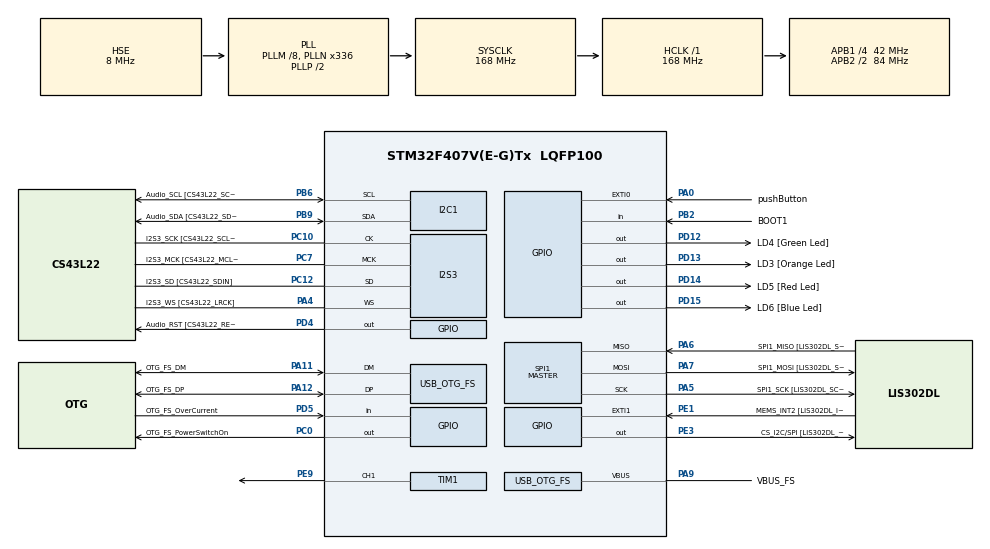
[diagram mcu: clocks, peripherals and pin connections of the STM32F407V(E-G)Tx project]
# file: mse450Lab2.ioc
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I2S3.AudioFreq-Half_Duplex_Master=I2S_AUDIOFREQ_96K
I2S3.ErrorAudioFreq=-2.34 %
I2S3.ErrorAudioFreq-Half_Duplex_Master=0.8 %
I2S3.FullDuplexMode=I2S_FULLDUPLEXMODE_DISABLE
I2S3.Instance=SPI$Index
I2S3.RealAudioFreq=93.75 KHz
I2S3.RealAudioFreq-Half_Duplex_Master=96.774 KHz
I2S3.VirtualMode=I2S_MODE_MASTER
Mcu.Family=STM32F4
Mcu.Name=STM32F407V(E-G)Tx
Mcu.Package=LQFP100
NVIC.EXTI0_IRQn=true\:0\:0\:false\:false\:true\:true\:true\:true
NVIC.OTG_FS_IRQn=true\:0\:0\:false\:false\:true\:true\:true\:true
NVIC.PriorityGroup=NVIC_PRIORITYGROUP_0
PA0-WKUP.GPIO_Label=pushButton
PA0-WKUP.Signal=GPXTI0
PA10.GPIO_Label=OTG_FS_ID
PA10.GPIO_Mode=GPIO_MODE_AF_PP
PA10.GPIO_PuPd=GPIO_NOPULL
PA10.GPIO_Speed=GPIO_SPEED_FREQ_LOW
PA10.Signal=USB_OTG_FS_ID
PA11.GPIO_Label=OTG_FS_DM
PA11.GPIO_Mode=GPIO_MODE_AF_PP
PA11.GPIO_PuPd=GPIO_NOPULL
PA11.GPIO_Speed=GPIO_SPEED_FREQ_LOW
PA11.Mode=Device_Only
PA11.Signal=USB_OTG_FS_DM
PA12.GPIO_Label=OTG_FS_DP
PA12.GPIO_Mode=GPIO_MODE_AF_PP
PA12.GPIO_PuPd=GPIO_NOPULL
PA12.GPIO_Speed=GPIO_SPEED_FREQ_LOW
PA12.Mode=Device_Only
PA12.Signal=USB_OTG_FS_DP
PA13.GPIO_Label=SWDIO
PA13.Mode=Serial_Wire
PA13.Signal=SYS_JTMS-SWDIO
PA14.GPIO_Label=SWCLK
PA14.Mode=Serial_Wire
PA14.Signal=SYS_JTCK-SWCLK
PA4.GPIO_Label=I2S3_WS [CS43L22_LRCK]
PA4.GPIO_Mode=GPIO_MODE_AF_PP
PA4.GPIO_PuPd=GPIO_NOPULL
PA4.GPIO_Speed=GPIO_SPEED_FREQ_LOW
PA4.Mode=Half_Duplex_Master
PA4.Signal=I2S3_WS
PA5.GPIO_Label=SPI1_SCK [LIS302DL_SCL/SPC]
PA5.GPIO_Mode=GPIO_MODE_AF_PP
PA5.GPIO_PuPd=GPIO_NOPULL
PA5.GPIO_Speed=GPIO_SPEED_FREQ_LOW
PA5.Mode=Full_Duplex_Master
PA5.Signal=SPI1_SCK
PA6.GPIO_Label=SPI1_MISO [LIS302DL_SDO]
PA6.GPIO_Mode=GPIO_MODE_AF_PP
PA6.GPIO_PuPd=GPIO_NOPULL
PA6.GPIO_Speed=GPIO_SPEED_FREQ_LOW
PA6.Mode=Full_Duplex_Master
PA6.Signal=SPI1_MISO
PA7.GPIO_Label=SPI1_MOSI [LIS302DL_SDA/SDI/SDO]
PA7.GPIO_Mode=GPIO_MODE_AF_PP
PA7.GPIO_PuPd=GPIO_NOPULL
PA7.GPIO_Speed=GPIO_SPEED_FREQ_LOW
PA7.Mode=Full_Duplex_Master
PA7.Signal=SPI1_MOSI
PA9.GPIO_Label=VBUS_FS
PA9.GPIO_Mode=GPIO_MODE_INPUT
PA9.GPIO_PuPd=GPIO_NOPULL
PA9.Mode=Activate_VBUS
PA9.Signal=USB_OTG_FS_VBUS
PB10.GPIO_Label=CLK_IN [MP45DT02_CLK]
PB10.GPIO_Mode=GPIO_MODE_AF_PP
PB10.GPIO_PuPd=GPIO_NOPULL
PB10.GPIO_Speed=GPIO_SPEED_FREQ_LOW
PB10.Signal=I2S2_CK
PB2.GPIO_Label=BOOT1
PB2.GPIO_Mode=GPIO_MODE_INPUT
PB2.GPIO_PuPd=GPIO_NOPULL
PB2.Signal=GPIO_Input
PB3.GPIO_Label=SWO
PB3.Signal=SYS_JTDO-SWO
PB6.GPIO_Label=Audio_SCL [CS43L22_SCL]
PB6.GPIO_Mode=GPIO_MODE_AF_OD
PB6.GPIO_Pu=GPIO_PULLUP
PB6.GPIO_PuPd=GPIO_NOPULL
PB6.GPIO_Speed=GPIO_SPEED_FREQ_LOW
PB6.Mode=I2C
PB6.Signal=I2C1_SCL
PB9.GPIO_Label=Audio_SDA [CS43L22_SDA]
PB9.GPIO_Mode=GPIO_MODE_AF_OD
PB9.GPIO_Pu=GPIO_PULLUP
PB9.GPIO_PuPd=GPIO_NOPULL
PB9.GPIO_Speed=GPIO_SPEED_FREQ_LOW
PB9.Mode=I2C
PB9.Signal=I2C1_SDA
PC0.GPIO_Label=OTG_FS_PowerSwitchOn
PC0.GPIO_PuPd=GPIO_NOPULL
PC0.GPIO_Speed=GPIO_SPEED_FREQ_LOW
PC0.PinState=GPIO_PIN_SET
PC0.Signal=GPIO_Output
PC10.GPIO_Label=I2S3_SCK [CS43L22_SCLK]
PC10.GPIO_Mode=GPIO_MODE_AF_PP
PC10.GPIO_PuPd=GPIO_NOPULL
PC10.GPIO_Speed=GPIO_SPEED_FREQ_LOW
PC10.Mode=Half_Duplex_Master
PC10.Signal=I2S3_CK
PC12.GPIO_Label=I2S3_SD [CS43L22_SDIN]
PC12.GPIO_Mode=GPIO_MODE_AF_PP
PC12.GPIO_PuPd=GPIO_NOPULL
PC12.GPIO_Speed=GPIO_SPEED_FREQ_LOW
PC12.Mode=Half_Duplex_Master
PC12.Signal=I2S3_SD
PC14-OSC32_IN.GPIO_Label=PC14-OSC32_IN
PC14-OSC32_IN.Mode=LSE-External-Oscillator
PC14-OSC32_IN.Signal=RCC_OSC32_IN
PC15-OSC32_OUT.GPIO_Label=PC15-OSC32_OUT
PC15-OSC32_OUT.Mode=LSE-External-Oscillator
PC15-OSC32_OUT.Signal=RCC_OSC32_OUT
PC3.GPIO_Label=PDM_OUT [MP45DT02_DOUT]
PC3.GPIO_Mode=GPIO_MODE_AF_PP
PC3.GPIO_PuPd=GPIO_NOPULL
PC3.GPIO_Speed=GPIO_SPEED_FREQ_LOW
PC3.Signal=I2S2_SD
PC7.GPIO_Label=I2S3_MCK [CS43L22_MCLK]
PC7.GPIO_Mode=GPIO_MODE_AF_PP
PC7.GPIO_PuPd=GPIO_NOPULL
PC7.GPIO_Speed=GPIO_SPEED_FREQ_LOW
PC7.Mode=Master_Clock_Activated
PC7.Signal=I2S3_MCK
PD12.GPIO_Label=LD4 [Green Led]
PD12.GPIO_PuPd=GPIO_NOPULL
PD12.GPIO_Speed=GPIO_SPEED_FREQ_LOW
PD12.Signal=GPIO_Output
PD13.GPIO_Label=LD3 [Orange Led]
PD13.GPIO_PuPd=GPIO_NOPULL
PD13.GPIO_Speed=GPIO_SPEED_FREQ_LOW
PD13.Signal=GPIO_Output
PD14.GPIO_Label=LD5 [Red Led]
PD14.GPIO_PuPd=GPIO_NOPULL
PD14.GPIO_Speed=GPIO_SPEED_FREQ_LOW
PD14.Signal=GPIO_Output
PD15.GPIO_Label=LD6 [Blue Led]
PD15.GPIO_PuPd=GPIO_NOPULL
PD15.GPIO_Speed=GPIO_SPEED_FREQ_LOW
PD15.Signal=GPIO_Output
PD4.GPIO_Label=Audio_RST [CS43L22_RESET]
PD4.GPIO_PuPd=GPIO_NOPULL
PD4.GPIO_Speed=GPIO_SPEED_FREQ_LOW
PD4.Signal=GPIO_Output
PD5.GPIO_Label=OTG_FS_OverCurrent
PD5.GPIO_Mode=GPIO_MODE_INPUT
PD5.GPIO_PuPd=GPIO_NOPULL
PD5.Signal=GPIO_Input
PE1.GPIO_Label=MEMS_INT2 [LIS302DL_INT2]
PE1.GPIO_ModeDefaultEXTI=GPIO_MODE_EVT_RISING
PE1.GPIO_PuPd=GPIO_NOPULL
PE1.Signal=GPXTI1
PE3.GPIO_Label=CS_I2C/SPI [LIS302DL_CS_I2C/SPI]
PE3.GPIO_PuPd=GPIO_NOPULL
PE3.GPIO_Speed=GPIO_SPEED_FREQ_LOW
PE3.Signal=GPIO_Output
PE9.Signal=S_TIM1_CH1
PH0-OSC_IN.GPIO_Label=PH0-OSC_IN
PH0-OSC_IN.Mode=HSE-External-Oscillator
PH0-OSC_IN.Signal=RCC_OSC_IN
PH1-OSC_OUT.GPIO_Label=PH1-OSC_OUT
PH1-OSC_OUT.Mode=HSE-External-Oscillator
PH1-OSC_OUT.Signal=RCC_OSC_OUT
ProjectManager.HeapSize=0x200
ProjectManager.StackSize=0x400
ProjectManager.TargetToolchain=STM32CubeIDE
RCC.48MHZClocksFreq_Value=48000000
RCC.AHBFreq_Value=168000000
RCC.APB1CLKDivider=RCC_HCLK_DIV4
RCC.APB1Freq_Value=42000000
RCC.APB1TimFreq_Value=84000000
RCC.APB2CLKDivider=RCC_HCLK_DIV2
RCC.APB2Freq_Value=84000000
RCC.APB2TimFreq_Value=168000000
RCC.CortexFreq_Value=168000000
RCC.HCLKFreq_Value=168000000
RCC.HSE_VALUE=8000000
RCC.HSI_VALUE=16000000
RCC.PLLM=8
RCC.PLLN=336
RCC.PLLQ=7
RCC.SYSCLKFreq_VALUE=168000000
RCC.SYSCLKSource=RCC_SYSCLKSOURCE_PLLCLK
RCC.VCOOutputFreq_Value=336000000
SH.S_TIM1_CH1.0=TIM1_CH1,PWM Generation1 CH1
SPI1.BaudRatePrescaler-Full_Duplex_Master=SPI_BAUDRATEPRESCALER_2
SPI1.CalculateBaudRate-Full_Duplex_Master=42.0 MBits/s
SPI1.Direction=SPI_DIRECTION_2LINES
SPI1.Mode=SPI_MODE_MASTER
SPI1.Mode-Full_Duplex_Master=SPI_MODE_MASTER
SPI1.VirtualType=VM_MASTER
TIM1.AutoReloadPreload=TIM_AUTORELOAD_PRELOAD_ENABLE
TIM1.Channel-PWM\ Generation1\ CH1=TIM_CHANNEL_1
TIM1.Period=100
TIM1.Pulse-PWM\ Generation1\ CH1=50
USB_DEVICE.CLASS_NAME_FS=CDC
USB_DEVICE.VirtualMode-CDC_FS=Cdc
USB_DEVICE.VirtualModeFS=Cdc_FS
USB_OTG_FS.VirtualMode=Device_Only
VP_USB_DEVICE_VS_USB_DEVICE_CDC_FS.Mode=CDC_FS
board=STM32F407G-DISC1

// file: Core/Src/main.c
/* USER CODE BEGIN Header */
/**
  ******************************************************************************
  * @file           : main.c
  * @brief          : Main program body
  ******************************************************************************
  * @attention
  *
  * Copyright (c) 2023 STMicroelectronics.
  * All rights reserved.
  *
  * This software is licensed under terms that can be found in the LICENSE file
  * in the root directory of this software component.
  * If no LICENSE file comes with this software, it is provided AS-IS.
  *
  ******************************************************************************
  */
/* USER CODE END Header */
#include "main.h"
#include "usb_device.h"
#include "usbd_cdc_if.h"
#include "string.h"
#include <stdio.h>      /* printf, fgets */
#include <stdlib.h>     /* atoi */

I2C_HandleTypeDef hi2c1;

I2S_HandleTypeDef hi2s3;

SPI_HandleTypeDef hspi1;

TIM_HandleTypeDef htim1;

void SystemClock_Config(void);
static void MX_GPIO_Init(void);
static void MX_I2C1_Init(void);
static void MX_I2S3_Init(void);
static void MX_SPI1_Init(void);
static void MX_TIM1_Init(void);

/* USER CODE BEGIN 0 */

char *data= "";
int8_t buffer[8];
int PWM[8];
int setPWM = 0;

/* USER CODE END 0 */

int main(void)
{

  /* MCU Configuration--------------------------------------------------------*/

  /* Reset of all peripherals, Initializes the Flash interface and the Systick. */
  HAL_Init();

  /* Configure the system clock */
  SystemClock_Config();

  /* Initialize all configured peripherals */
  MX_GPIO_Init();
  MX_I2C1_Init();
  MX_I2S3_Init();
  MX_SPI1_Init();
  MX_TIM1_Init();
  MX_USB_DEVICE_Init();

  /* Infinite loop */
  /* USER CODE BEGIN WHILE */
  while (1)
  {
	  int T=5;

	if (T==1)
	{
	  /*Task 1*/
	  HAL_GPIO_WritePin(GPIOD, GPIO_PIN_12|GPIO_PIN_13|GPIO_PIN_14|GPIO_PIN_15, GPIO_PIN_SET);
	  HAL_Delay(1000);
	  HAL_GPIO_WritePin(GPIOD, GPIO_PIN_12|GPIO_PIN_13|GPIO_PIN_14|GPIO_PIN_15, GPIO_PIN_RESET);
	  HAL_Delay(1000);
	}

	if (T==2)
	{
	  /*Task 2*/
	  HAL_TIM_PWM_Start(&htim1, TIM_CHANNEL_1);
	  TIM1->CCR1 = 45;
	}

	if (T==3)
	{
		/*Task 3*/
		/*code in stm32fxx_it.c  -interrupt */
	}

	if (T==4)
	{
		/*Task 4*/
		uint8_t message[12] = "STM32 WRITE\n";
		while(1){
		CDC_Transmit_FS(message, 12);
		HAL_Delay(1000);
		}
	}

	if (T==5)
	{
		/*Task 5*/
		data = "STM32 TASK 05- READ\n";
		while(1){
			CDC_Transmit_FS((uint8_t*) data,strlen(data));

			for(int i=0;i<8;i++){
					PWM[i]=(int)buffer[i]-48;
					if (PWM[i]<0)
						{
						PWM[i]=0;
						}
					HAL_Delay(100);
				}
			setPWM = PWM[0] *10 + PWM[1];

			HAL_GPIO_WritePin(GPIOD, GPIO_PIN_13, GPIO_PIN_SET);
			HAL_TIM_PWM_Start(&htim1, TIM_CHANNEL_1);
			TIM1->CCR1 = setPWM;
			HAL_Delay (1000);
				}
		}
	}

	  /* USER CODE END WHILE */

}

void SystemClock_Config(void)
{
  RCC_OscInitTypeDef RCC_OscInitStruct = {0};
  RCC_ClkInitTypeDef RCC_ClkInitStruct = {0};

  /** Configure the main internal regulator output voltage
  */
  __HAL_RCC_PWR_CLK_ENABLE();
  __HAL_PWR_VOLTAGESCALING_CONFIG(PWR_REGULATOR_VOLTAGE_SCALE1);

  /** Initializes the RCC Oscillators according to the specified parameters
  * in the RCC_OscInitTypeDef structure.
  */
  RCC_OscInitStruct.OscillatorType = RCC_OSCILLATORTYPE_HSE;
  RCC_OscInitStruct.HSEState = RCC_HSE_ON;
  RCC_OscInitStruct.PLL.PLLState = RCC_PLL_ON;
  RCC_OscInitStruct.PLL.PLLSource = RCC_PLLSOURCE_HSE;
  RCC_OscInitStruct.PLL.PLLM = 8;
  RCC_OscInitStruct.PLL.PLLN = 336;
  RCC_OscInitStruct.PLL.PLLP = RCC_PLLP_DIV2;
  RCC_OscInitStruct.PLL.PLLQ = 7;
  if (HAL_RCC_OscConfig(&RCC_OscInitStruct) != HAL_OK)
  {
    Error_Handler();
  }

  /** Initializes the CPU, AHB and APB buses clocks
  */
  RCC_ClkInitStruct.ClockType = RCC_CLOCKTYPE_HCLK|RCC_CLOCKTYPE_SYSCLK
                              |RCC_CLOCKTYPE_PCLK1|RCC_CLOCKTYPE_PCLK2;
  RCC_ClkInitStruct.SYSCLKSource = RCC_SYSCLKSOURCE_PLLCLK;
  RCC_ClkInitStruct.AHBCLKDivider = RCC_SYSCLK_DIV1;
  RCC_ClkInitStruct.APB1CLKDivider = RCC_HCLK_DIV4;
  RCC_ClkInitStruct.APB2CLKDivider = RCC_HCLK_DIV2;

  if (HAL_RCC_ClockConfig(&RCC_ClkInitStruct, FLASH_LATENCY_5) != HAL_OK)
  {
    Error_Handler();
  }
}

static void MX_I2C1_Init(void)
{

  hi2c1.Instance = I2C1;
  hi2c1.Init.ClockSpeed = 100000;
  hi2c1.Init.DutyCycle = I2C_DUTYCYCLE_2;
  hi2c1.Init.OwnAddress1 = 0;
  hi2c1.Init.AddressingMode = I2C_ADDRESSINGMODE_7BIT;
  hi2c1.Init.DualAddressMode = I2C_DUALADDRESS_DISABLE;
  hi2c1.Init.OwnAddress2 = 0;
  hi2c1.Init.GeneralCallMode = I2C_GENERALCALL_DISABLE;
  hi2c1.Init.NoStretchMode = I2C_NOSTRETCH_DISABLE;
  if (HAL_I2C_Init(&hi2c1) != HAL_OK)
  {
    Error_Handler();
  }

}

static void MX_I2S3_Init(void)
{

  hi2s3.Instance = SPI3;
  hi2s3.Init.Mode = I2S_MODE_MASTER_TX;
  hi2s3.Init.Standard = I2S_STANDARD_PHILIPS;
  hi2s3.Init.DataFormat = I2S_DATAFORMAT_16B;
  hi2s3.Init.MCLKOutput = I2S_MCLKOUTPUT_ENABLE;
  hi2s3.Init.AudioFreq = I2S_AUDIOFREQ_96K;
  hi2s3.Init.CPOL = I2S_CPOL_LOW;
  hi2s3.Init.ClockSource = I2S_CLOCK_PLL;
  hi2s3.Init.FullDuplexMode = I2S_FULLDUPLEXMODE_DISABLE;
  if (HAL_I2S_Init(&hi2s3) != HAL_OK)
  {
    Error_Handler();
  }

}

static void MX_SPI1_Init(void)
{

  /* SPI1 parameter configuration*/
  hspi1.Instance = SPI1;
  hspi1.Init.Mode = SPI_MODE_MASTER;
  hspi1.Init.Direction = SPI_DIRECTION_2LINES;
  hspi1.Init.DataSize = SPI_DATASIZE_8BIT;
  hspi1.Init.CLKPolarity = SPI_POLARITY_LOW;
  hspi1.Init.CLKPhase = SPI_PHASE_1EDGE;
  hspi1.Init.NSS = SPI_NSS_SOFT;
  hspi1.Init.BaudRatePrescaler = SPI_BAUDRATEPRESCALER_2;
  hspi1.Init.FirstBit = SPI_FIRSTBIT_MSB;
  hspi1.Init.TIMode = SPI_TIMODE_DISABLE;
  hspi1.Init.CRCCalculation = SPI_CRCCALCULATION_DISABLE;
  hspi1.Init.CRCPolynomial = 10;
  if (HAL_SPI_Init(&hspi1) != HAL_OK)
  {
    Error_Handler();
  }

}

static void MX_TIM1_Init(void)
{

  TIM_MasterConfigTypeDef sMasterConfig = {0};
  TIM_OC_InitTypeDef sConfigOC = {0};
  TIM_BreakDeadTimeConfigTypeDef sBreakDeadTimeConfig = {0};

  htim1.Instance = TIM1;
  htim1.Init.Prescaler = 0;
  htim1.Init.CounterMode = TIM_COUNTERMODE_UP;
  htim1.Init.Period = 100;
  htim1.Init.ClockDivision = TIM_CLOCKDIVISION_DIV1;
  htim1.Init.RepetitionCounter = 0;
  htim1.Init.AutoReloadPreload = TIM_AUTORELOAD_PRELOAD_ENABLE;
  if (HAL_TIM_PWM_Init(&htim1) != HAL_OK)
  {
    Error_Handler();
  }
  sMasterConfig.MasterOutputTrigger = TIM_TRGO_RESET;
  sMasterConfig.MasterSlaveMode = TIM_MASTERSLAVEMODE_DISABLE;
  if (HAL_TIMEx_MasterConfigSynchronization(&htim1, &sMasterConfig) != HAL_OK)
  {
    Error_Handler();
  }
  sConfigOC.OCMode = TIM_OCMODE_PWM1;
  sConfigOC.Pulse = 50;
  sConfigOC.OCPolarity = TIM_OCPOLARITY_HIGH;
  sConfigOC.OCNPolarity = TIM_OCNPOLARITY_HIGH;
  sConfigOC.OCFastMode = TIM_OCFAST_DISABLE;
  sConfigOC.OCIdleState = TIM_OCIDLESTATE_RESET;
  sConfigOC.OCNIdleState = TIM_OCNIDLESTATE_RESET;
  if (HAL_TIM_PWM_ConfigChannel(&htim1, &sConfigOC, TIM_CHANNEL_1) != HAL_OK)
  {
    Error_Handler();
  }
  sBreakDeadTimeConfig.OffStateRunMode = TIM_OSSR_DISABLE;
  sBreakDeadTimeConfig.OffStateIDLEMode = TIM_OSSI_DISABLE;
  sBreakDeadTimeConfig.LockLevel = TIM_LOCKLEVEL_OFF;
  sBreakDeadTimeConfig.DeadTime = 0;
  sBreakDeadTimeConfig.BreakState = TIM_BREAK_DISABLE;
  sBreakDeadTimeConfig.BreakPolarity = TIM_BREAKPOLARITY_HIGH;
  sBreakDeadTimeConfig.AutomaticOutput = TIM_AUTOMATICOUTPUT_DISABLE;
  if (HAL_TIMEx_ConfigBreakDeadTime(&htim1, &sBreakDeadTimeConfig) != HAL_OK)
  {
    Error_Handler();
  }
  HAL_TIM_MspPostInit(&htim1);

}

static void MX_GPIO_Init(void)
{
  GPIO_InitTypeDef GPIO_InitStruct = {0};

  /* GPIO Ports Clock Enable */
  __HAL_RCC_GPIOE_CLK_ENABLE();
  __HAL_RCC_GPIOC_CLK_ENABLE();
  __HAL_RCC_GPIOH_CLK_ENABLE();
  __HAL_RCC_GPIOA_CLK_ENABLE();
  __HAL_RCC_GPIOB_CLK_ENABLE();
  __HAL_RCC_GPIOD_CLK_ENABLE();

  /*Configure GPIO pin Output Level */
  HAL_GPIO_WritePin(CS_I2C_SPI_GPIO_Port, CS_I2C_SPI_Pin, GPIO_PIN_RESET);

  /*Configure GPIO pin Output Level */
  HAL_GPIO_WritePin(OTG_FS_PowerSwitchOn_GPIO_Port, OTG_FS_PowerSwitchOn_Pin, GPIO_PIN_SET);

  /*Configure GPIO pin Output Level */
  HAL_GPIO_WritePin(GPIOD, LD4_Pin|LD3_Pin|LD5_Pin|LD6_Pin
                          |Audio_RST_Pin, GPIO_PIN_RESET);

  /*Configure GPIO pin : CS_I2C_SPI_Pin */
  GPIO_InitStruct.Pin = CS_I2C_SPI_Pin;
  GPIO_InitStruct.Mode = GPIO_MODE_OUTPUT_PP;
  GPIO_InitStruct.Pull = GPIO_NOPULL;
  GPIO_InitStruct.Speed = GPIO_SPEED_FREQ_LOW;
  HAL_GPIO_Init(CS_I2C_SPI_GPIO_Port, &GPIO_InitStruct);

  /*Configure GPIO pin : OTG_FS_PowerSwitchOn_Pin */
  GPIO_InitStruct.Pin = OTG_FS_PowerSwitchOn_Pin;
  GPIO_InitStruct.Mode = GPIO_MODE_OUTPUT_PP;
  GPIO_InitStruct.Pull = GPIO_NOPULL;
  GPIO_InitStruct.Speed = GPIO_SPEED_FREQ_LOW;
  HAL_GPIO_Init(OTG_FS_PowerSwitchOn_GPIO_Port, &GPIO_InitStruct);

  /*Configure GPIO pin : PDM_OUT_Pin */
  GPIO_InitStruct.Pin = PDM_OUT_Pin;
  GPIO_InitStruct.Mode = GPIO_MODE_AF_PP;
  GPIO_InitStruct.Pull = GPIO_NOPULL;
  GPIO_InitStruct.Speed = GPIO_SPEED_FREQ_LOW;
  GPIO_InitStruct.Alternate = GPIO_AF5_SPI2;
  HAL_GPIO_Init(PDM_OUT_GPIO_Port, &GPIO_InitStruct);

  /*Configure GPIO pin : pushButton_Pin */
  GPIO_InitStruct.Pin = pushButton_Pin;
  GPIO_InitStruct.Mode = GPIO_MODE_IT_RISING;
  GPIO_InitStruct.Pull = GPIO_NOPULL;
  HAL_GPIO_Init(pushButton_GPIO_Port, &GPIO_InitStruct);

  /*Configure GPIO pin : BOOT1_Pin */
  GPIO_InitStruct.Pin = BOOT1_Pin;
  GPIO_InitStruct.Mode = GPIO_MODE_INPUT;
  GPIO_InitStruct.Pull = GPIO_NOPULL;
  HAL_GPIO_Init(BOOT1_GPIO_Port, &GPIO_InitStruct);

  /*Configure GPIO pin : CLK_IN_Pin */
  GPIO_InitStruct.Pin = CLK_IN_Pin;
  GPIO_InitStruct.Mode = GPIO_MODE_AF_PP;
  GPIO_InitStruct.Pull = GPIO_NOPULL;
  GPIO_InitStruct.Speed = GPIO_SPEED_FREQ_LOW;
  GPIO_InitStruct.Alternate = GPIO_AF5_SPI2;
  HAL_GPIO_Init(CLK_IN_GPIO_Port, &GPIO_InitStruct);

  /*Configure GPIO pins : LD4_Pin LD3_Pin LD5_Pin LD6_Pin
                           Audio_RST_Pin */
  GPIO_InitStruct.Pin = LD4_Pin|LD3_Pin|LD5_Pin|LD6_Pin
                          |Audio_RST_Pin;
  GPIO_InitStruct.Mode = GPIO_MODE_OUTPUT_PP;
  GPIO_InitStruct.Pull = GPIO_NOPULL;
  GPIO_InitStruct.Speed = GPIO_SPEED_FREQ_LOW;
  HAL_GPIO_Init(GPIOD, &GPIO_InitStruct);

  /*Configure GPIO pin : OTG_FS_OverCurrent_Pin */
  GPIO_InitStruct.Pin = OTG_FS_OverCurrent_Pin;
  GPIO_InitStruct.Mode = GPIO_MODE_INPUT;
  GPIO_InitStruct.Pull = GPIO_NOPULL;
  HAL_GPIO_Init(OTG_FS_OverCurrent_GPIO_Port, &GPIO_InitStruct);

  /*Configure GPIO pin : MEMS_INT2_Pin */
  GPIO_InitStruct.Pin = MEMS_INT2_Pin;
  GPIO_InitStruct.Mode = GPIO_MODE_EVT_RISING;
  GPIO_InitStruct.Pull = GPIO_NOPULL;
  HAL_GPIO_Init(MEMS_INT2_GPIO_Port, &GPIO_InitStruct);

  /* EXTI interrupt init*/
  HAL_NVIC_SetPriority(EXTI0_IRQn, 0, 0);
  HAL_NVIC_EnableIRQ(EXTI0_IRQn);

}

void Error_Handler(void)
{
  __disable_irq();
  while (1)
  {
  }
}
